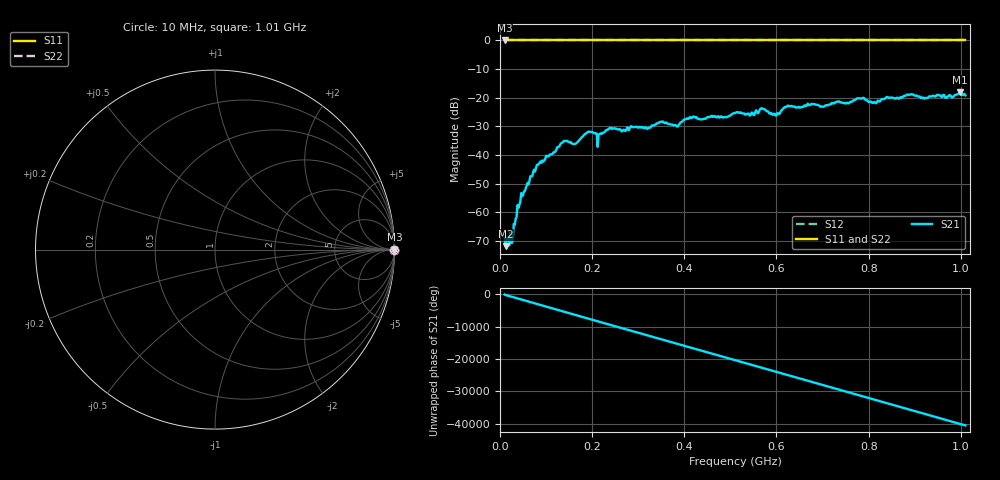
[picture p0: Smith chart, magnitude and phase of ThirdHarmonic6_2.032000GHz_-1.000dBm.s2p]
! 8/17/2025 12:22:58 AM
! C:\ANRITSUVNA\TEMP\TEMP.S2P
! CHANNEL.1
! TR.MEASUREMENT
! RAW.DATA
! RF.CORRECTION.OFF
! AVERAGING.OFF
! IF.BANDWIDTH: 5KHZ
! SWEEPTYPE:  FREQ.SWEEP(Linear)
! Reference Plane Port Info
! PORT:  PORT1  PORT2
! DISTANCE:  0  m  0  m
! TIME:  0  s  0  s
! PHASE.OFFSET:  0  deg.  0  deg.
! LOSS:  0  dB  0  dB
! REF.LOSS:  0  dB  0  dB
! REF.FREQ:  0  Hz  0  Hz
! Power Info
! POWER:  -20  dBm  -20  dBm
! EFF.POWER:  -20  dBm  -20  dBm
! SOURCE.ATTEN:  0  dB  0  dB
! TEST.ATTEN:  0  dB  0  dB
# GHZ S RI R 50.0
! FREQ.GHZ  S11RE  S11IM  S21RE  S21IM  S12RE  S12IM  S22RE  S22IM
!; PortSelection: Port_12
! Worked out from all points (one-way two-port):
!   501 points, 10 MHz to 1.01 GHz, reference 50 ohm
!   highest |S21| = -18.14 dB at 998 MHz (marker M1); lowest = -71.8 dB at 12 MHz (marker M2)
!   lowest |S11| = 0.0 dB at 10 MHz (marker M3)
!   |S11| at or under -10 dB: nowhere
!   |S22| runs from 0.0 to 0.0 dB; largest |S21 - S12| = 1.1
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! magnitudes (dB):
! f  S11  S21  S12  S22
! 10 MHz  0.0  -68.9  0.0  0.0
! 12 MHz  0.0  -71.8  0.0  0.0
! 24 MHz  0.0  -70.7  0.0  0.0
! 42 MHz  0.0  -57.4  0.0  0.0
! 84 MHz  0.0  -43.2  0.0  0.0
! 136 MHz  0.0  -35.7  0.0  0.0
! 162 MHz  0.0  -36.1  0.0  0.0
! 178 MHz  0.0  -33.8  0.0  0.0
! 194 MHz  0.0  -31.9  0.0  0.0
! 344 MHz  0.0  -28.9  0.0  0.0
! 384 MHz  0.0  -30.0  0.0  0.0
! 416 MHz  0.0  -27.1  0.0  0.0
! 510 MHz  0.0  -25.4  0.0  0.0
! 570 MHz  0.0  -23.8  0.0  0.0
! 596 MHz  0.0  -25.6  0.0  0.0
! 622 MHz  0.0  -23.1  0.0  0.0
! 678 MHz  0.0  -22.2  0.0  0.0
! 786 MHz  0.0  -20.2  0.0  0.0
! 812 MHz  0.0  -21.5  0.0  0.0
! 844 MHz  0.0  -20.0  0.0  0.0
! 998 MHz  0.0  -18.1  0.0  0.0
! 1.01 GHz  0.0  -19.2  0.0  0.0
